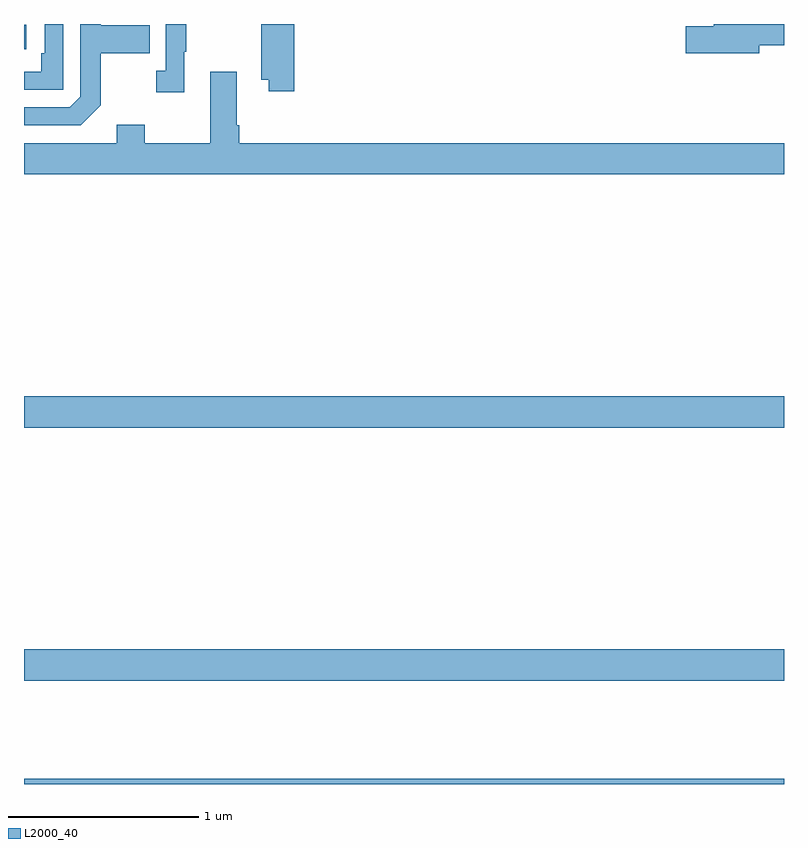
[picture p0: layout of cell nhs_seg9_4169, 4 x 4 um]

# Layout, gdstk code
import gdstk
lib = gdstk.Library(unit=1e-6, precision=1e-09)
def R(c, l, rs):  # rectangles x0, y0, x1, y1
    for r in rs: c.add(gdstk.rectangle(r[:2], r[2:], *l))
def P(c, l, *ps):  # polygons
    for p in ps: c.add(gdstk.Polygon(p, *l))
L2000_40 = (2000, 40)

nhs_seg9_4169 = lib.new_cell('nhs_seg9_4169')
R(nhs_seg9_4169, L2000_40, [(349,1238.5,353,1238.528), (349,1239.044,353,1239.208), (349,1240.376,353,1240.54), (349,1242.366,349.012,1242.496)])
P(nhs_seg9_4169, L2000_40, [(349.206,1242.5),(349.11,1242.5),(349.11,1242.346),(349.09,1242.346),(349.09,1242.249),(349,1242.249),(349,1242.153),(349.206,1242.153)],
  [(349.405,1242.073),(349.405,1242.346),(349.661,1242.346),(349.661,1242.493),(349.405,1242.493),(349.405,1242.5),(349.296,1242.5),(349.296,1242.117),(349.242,1242.063),(349,1242.063),(349,1241.967),(349.299,1241.967)],
  [(350.423,1242.5),(350.248,1242.5),(350.248,1242.206),(350.288,1242.206),(350.288,1242.147),(350.423,1242.147)],
  [(349.843,1242.353),(349.855,1242.353),(349.855,1242.5),(349.746,1242.5),(349.746,1242.254),(349.695,1242.254),(349.695,1242.141),(349.843,1242.141)],
  [(352.87,1242.388),(353,1242.388),(353,1242.5),(352.631,1242.5),(352.631,1242.488),(352.482,1242.488),(352.482,1242.346),(352.87,1242.346)],
  [(353,1241.872),(350.132,1241.872),(350.132,1241.968),(350.119,1241.968),(350.119,1242.25),(349.979,1242.25),(349.979,1241.872),(349.635,1241.872),(349.635,1241.971),(349.487,1241.971),(349.487,1241.872),(349,1241.872),(349,1241.708),(353,1241.708)])

lib.write_gds('nhs_seg9_4169.gds')
